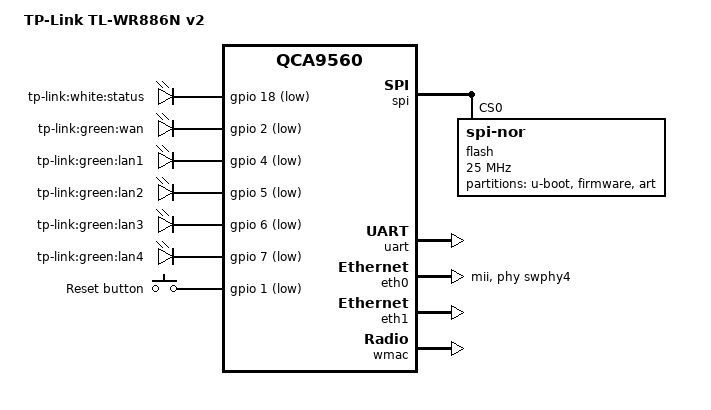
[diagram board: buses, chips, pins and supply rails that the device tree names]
// SPDX-License-Identifier: GPL-2.0-or-later OR MIT
/dts-v1/;

#include <dt-bindings/gpio/gpio.h>
#include <dt-bindings/input/input.h>

#include "qca956x.dtsi"

/ {
    compatible = "tplink,tl-wr886n-v2", "qca,qca9560";
    model = "TP-Link TL-WR886N v2";

	chosen {
		bootargs = "console=ttyS0,115200n8";
	};

    aliases {
        led-boot = &sys_led;
        led-failsafe = &sys_led;
        led-running = &sys_led;
        led-upgrade = &sys_led;
        label-mac-device = &wmac;
    };

	leds {
		compatible = "gpio-leds";

		sys_led: sys {
			label = "tp-link:white:status";
			gpios = <&gpio 18 GPIO_ACTIVE_LOW>;
		};

		wan {
			label = "tp-link:green:wan";
			gpios = <&gpio 2 GPIO_ACTIVE_LOW>;
		};

		lan1 {
			label = "tp-link:green:lan1";
			gpios = <&gpio 4 GPIO_ACTIVE_LOW>;
		};

		lan2 {
			label = "tp-link:green:lan2";
			gpios = <&gpio 5 GPIO_ACTIVE_LOW>;
		};

		lan3 {
			label = "tp-link:green:lan3";
			gpios = <&gpio 6 GPIO_ACTIVE_LOW>;
		};

		lan4 {
			label = "tp-link:green:lan4";
			gpios = <&gpio 7 GPIO_ACTIVE_LOW>;
		};
	};

	keys {
		compatible = "gpio-keys";

		reset {
			label = "Reset button";
			linux,code = <KEY_RESTART>;
			gpios = <&gpio 1 GPIO_ACTIVE_LOW>;
		};
	};
};

&spi {
	status = "okay";
	num-cs = <1>;

	flash@0 {
		compatible = "jedec,spi-nor";
		reg = <0>;
		spi-max-frequency = <25000000>;

		partitions {
			compatible = "fixed-partitions";
			#address-cells = <1>;
			#size-cells = <1>;

			uboot:	partition@0 {
				label = "u-boot";
				reg = <0x000000 0x020000>;
				read-only;
			};

			partition@20000 {
				compatible = "tplink,firmware";
				label = "firmware";
				reg = <0x020000 0xfd0000>;
			};

			art: partition@7f0000 {
				label = "art";
				reg = <0xff0000 0x010000>;
				read-only;
			};
		};
	};
};

&uart {
	status = "okay";
};

//wan ports
&eth0 {
	status = "okay";

	phy-mode = "mii";
	phy-handle = <&swphy4>;

	mtd-mac-address = <&uboot 0x1fc00>;
	mtd-mac-address-increment = <1>;
};

//lan ports
&eth1 {
    status = "okay";
	mtd-mac-address = <&uboot 0x1fc00>;
};

&wmac {
	status = "okay";

	mtd-cal-data = <&art 0x1000>;
	mtd-mac-address = <&uboot 0x1fc00>;
};
